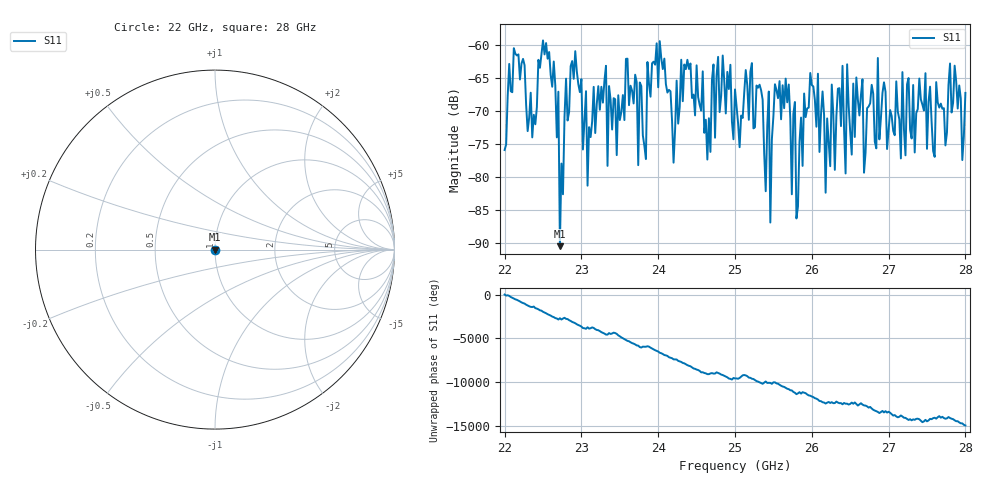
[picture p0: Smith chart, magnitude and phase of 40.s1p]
#  HZ  S  RI  R  50.00
! Rohde & Schwarz ZVA40 4Ports - Version 3.90 - 1145.1110k42 SN: 100403
! Date: 2023-10-04 09:23:50
! Measurement: S12
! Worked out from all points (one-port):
!   301 points, 22 GHz to 28 GHz, reference 50 ohm
!   lowest |S11| = -90.4 dB at 22.72 GHz (marker M1), VSWR 1.00, Z = 50 - j0.000119 ohm
!   |S11| at or under -10 dB: start of sweep to end of sweep
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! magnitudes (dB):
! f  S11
! 22 GHz  -75.9
! 22.12 GHz  -60.5
! 22.36 GHz  -74.0
! 22.5 GHz  -59.3
! 22.72 GHz  -90.4
! 22.76 GHz  -82.6
! 22.92 GHz  -61.0
! 23.08 GHz  -81.3
! 23.16 GHz  -66.3
! 23.5 GHz  -71.4
! 23.84 GHz  -77.3
! 23.86 GHz  -62.6
! 24.02 GHz  -59.4
! 24.26 GHz  -71.9
! 25 GHz  -66.7
! 25.32 GHz  -66.0
! 25.4 GHz  -82.1
! 25.44 GHz  -67.1
! 25.46 GHz  -86.9
! 25.52 GHz  -65.9
! 25.76 GHz  -70.4
! 26.5 GHz  -73.1
! 26.84 GHz  -75.6
! 26.86 GHz  -62.0
! 26.88 GHz  -74.3
! 27.22 GHz  -76.7
! 27.26 GHz  -65.0
! 28 GHz  -67.3
